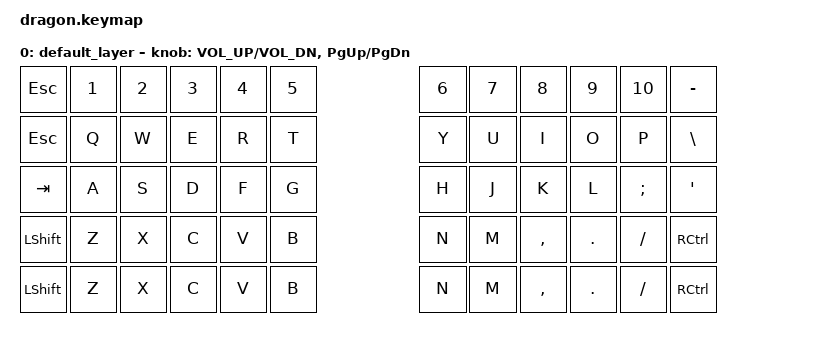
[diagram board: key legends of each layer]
#include <behaviors.dtsi>
#include <dt-bindings/zmk/keys.h>

/ {
    keymap {
        compatible = "zmk,keymap";

        default_layer {
// --------------------------------------------------------------------------------------------------------------------------------------------------------------------
// |  ESC    |    1    |    2    |    3    |    4    |    5    |				|    6    |    7    |    8    |    9    |    0    |    -    |
// |  TAB    |    Q    |    W    |    E    |    R    |    T    |				|    Y    |    U    |    I    |    O    |    P    |    \    |
// |  SHIFT  |    A    |    S    |    D    |    F    |    G    |				|    H    |    J    |    K    |    L    |    ;    |    '    | Control |    Z    |    X    |    C    |    V    |    B    |				|    N    |    M    |    ,    |    .    |    /    |  R CTRL |
// | Control |    Z    |    X    |    C    |    V    |    B    |				|    N    |    M    |    ,    |    .    |    /    |  R CTRL |
            bindings = <
    &kp ESC    &kp 1    &kp 2    &kp 3     &kp 4     &kp 5				        &kp 6     &kp 7     &kp 8     &kp 9     &kp 10   &kp MINUS
    &kp ESC    &kp Q    &kp W    &kp E     &kp R     &kp T				        &kp Y     &kp U     &kp I     &kp O     &kp P    &kp BSLH
    &kp TAB    &kp A    &kp S    &kp D     &kp F     &kp G				        &kp H     &kp J     &kp K     &kp L     &kp SEMI &kp SQT
    &kp LSHIFT &kp Z    &kp X    &kp C     &kp V     &kp B				        &kp N     &kp M     &kp COMMA &kp DOT   &kp FSLH &kp RCTRL
    &kp LSHIFT &kp Z    &kp X    &kp C     &kp V     &kp B				        &kp N     &kp M     &kp COMMA &kp DOT   &kp FSLH &kp RCTRL

            >;

            sensor-bindings = <&inc_dec_kp C_VOL_UP C_VOL_DN &inc_dec_kp PG_UP PG_DN>;
        };
    };
};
